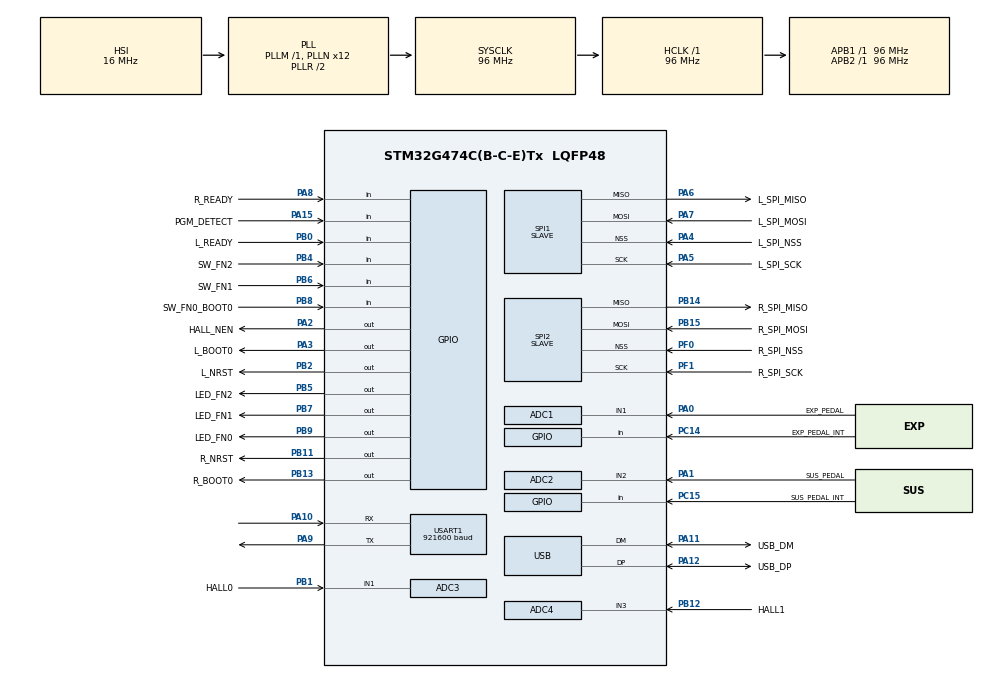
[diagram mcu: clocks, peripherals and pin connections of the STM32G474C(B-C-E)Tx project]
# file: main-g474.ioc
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ADC1.Channel-0\#ChannelRegularConversion=ADC_CHANNEL_1
ADC1.NbrOfConversionFlag=1
ADC1.OffsetNumber-0\#ChannelRegularConversion=ADC_OFFSET_NONE
ADC1.OversamplingMode=DISABLE
ADC1.Rank-0\#ChannelRegularConversion=1
ADC1.SamplingTime-0\#ChannelRegularConversion=ADC_SAMPLETIME_2CYCLES_5
ADC1.master=1
ADC2.Channel-0\#ChannelRegularConversion=ADC_CHANNEL_2
ADC2.NbrOfConversionFlag=1
ADC2.OffsetNumber-0\#ChannelRegularConversion=ADC_OFFSET_NONE
ADC2.Rank-0\#ChannelRegularConversion=1
ADC2.SamplingTime-0\#ChannelRegularConversion=ADC_SAMPLETIME_2CYCLES_5
ADC3.Channel-0\#ChannelRegularConversion=ADC_CHANNEL_1
ADC3.NbrOfConversionFlag=1
ADC3.OffsetNumber-0\#ChannelRegularConversion=ADC_OFFSET_NONE
ADC3.OversamplingMode=ENABLE
ADC3.Rank-0\#ChannelRegularConversion=1
ADC3.Ratio=ADC_OVERSAMPLING_RATIO_256
ADC3.RightBitShift=ADC_RIGHTBITSHIFT_5
ADC3.SamplingTime-0\#ChannelRegularConversion=ADC_SAMPLETIME_2CYCLES_5
ADC3.master=1
ADC4.Channel-0\#ChannelRegularConversion=ADC_CHANNEL_3
ADC4.NbrOfConversionFlag=1
ADC4.OffsetNumber-0\#ChannelRegularConversion=ADC_OFFSET_NONE
ADC4.OversamplingMode=ENABLE
ADC4.Rank-0\#ChannelRegularConversion=1
ADC4.Ratio=ADC_OVERSAMPLING_RATIO_256
ADC4.RightBitShift=ADC_RIGHTBITSHIFT_5
ADC4.SamplingTime-0\#ChannelRegularConversion=ADC_SAMPLETIME_2CYCLES_5
Dma.Request0=SPI1_RX
Dma.Request1=SPI2_RX
Dma.SPI1_RX.0.Direction=DMA_PERIPH_TO_MEMORY
Dma.SPI1_RX.0.EventEnable=DISABLE
Dma.SPI1_RX.0.Instance=DMA1_Channel1
Dma.SPI1_RX.0.MemDataAlignment=DMA_MDATAALIGN_HALFWORD
Dma.SPI1_RX.0.MemInc=DMA_MINC_ENABLE
Dma.SPI1_RX.0.Mode=DMA_NORMAL
Dma.SPI1_RX.0.PeriphDataAlignment=DMA_PDATAALIGN_HALFWORD
Dma.SPI1_RX.0.PeriphInc=DMA_PINC_DISABLE
Dma.SPI1_RX.0.Polarity=HAL_DMAMUX_REQ_GEN_RISING
Dma.SPI1_RX.0.Priority=DMA_PRIORITY_LOW
Dma.SPI1_RX.0.RequestNumber=1
Dma.SPI1_RX.0.SignalID=NONE
Dma.SPI1_RX.0.SyncEnable=DISABLE
Dma.SPI1_RX.0.SyncPolarity=HAL_DMAMUX_SYNC_NO_EVENT
Dma.SPI1_RX.0.SyncRequestNumber=1
Dma.SPI1_RX.0.SyncSignalID=NONE
Dma.SPI2_RX.1.Direction=DMA_PERIPH_TO_MEMORY
Dma.SPI2_RX.1.EventEnable=DISABLE
Dma.SPI2_RX.1.Instance=DMA1_Channel2
Dma.SPI2_RX.1.MemDataAlignment=DMA_MDATAALIGN_HALFWORD
Dma.SPI2_RX.1.MemInc=DMA_MINC_ENABLE
Dma.SPI2_RX.1.Mode=DMA_NORMAL
Dma.SPI2_RX.1.PeriphDataAlignment=DMA_PDATAALIGN_HALFWORD
Dma.SPI2_RX.1.PeriphInc=DMA_PINC_DISABLE
Dma.SPI2_RX.1.Polarity=HAL_DMAMUX_REQ_GEN_RISING
Dma.SPI2_RX.1.Priority=DMA_PRIORITY_LOW
Dma.SPI2_RX.1.RequestNumber=1
Dma.SPI2_RX.1.SignalID=NONE
Dma.SPI2_RX.1.SyncEnable=DISABLE
Dma.SPI2_RX.1.SyncPolarity=HAL_DMAMUX_SYNC_NO_EVENT
Dma.SPI2_RX.1.SyncRequestNumber=1
Dma.SPI2_RX.1.SyncSignalID=NONE
Mcu.Family=STM32G4
Mcu.Name=STM32G474C(B-C-E)Tx
Mcu.Package=LQFP48
NVIC.DMA1_Channel1_IRQn=true\:0\:0\:false\:false\:true\:false\:true\:true
NVIC.DMA1_Channel2_IRQn=true\:0\:0\:false\:false\:true\:false\:true\:true
NVIC.PriorityGroup=NVIC_PRIORITYGROUP_4
NVIC.SPI1_IRQn=true\:0\:0\:false\:false\:true\:true\:true\:true
NVIC.SPI2_IRQn=true\:0\:0\:false\:false\:true\:true\:true\:true
NVIC.USART1_IRQn=true\:0\:0\:false\:false\:true\:true\:true\:true
PA0.GPIO_Label=EXP_PEDAL
PA0.Mode=IN1-Single-Ended
PA0.Signal=ADC1_IN1
PA1.GPIO_Label=SUS_PEDAL
PA1.Mode=IN2-Single-Ended
PA1.Signal=ADC2_IN2
PA10.Mode=Asynchronous
PA10.Signal=USART1_RX
PA11.GPIO_Label=USB_DM
PA11.Mode=Device
PA11.Signal=USB_DM
PA12.GPIO_Label=USB_DP
PA12.Mode=Device
PA12.Signal=USB_DP
PA13.Mode=Trace_Asynchronous_SW
PA13.Signal=SYS_JTMS-SWDIO
PA14.Mode=Trace_Asynchronous_SW
PA14.Signal=SYS_JTCK-SWCLK
PA15.GPIO_Label=PGM_DETECT
PA15.GPIO_PuPd=GPIO_PULLUP
PA15.Signal=GPIO_Input
PA2.GPIO_Label=HALL_NEN
PA2.GPIO_ModeDefaultOutputPP=GPIO_MODE_OUTPUT_OD
PA2.GPIO_PuPd=GPIO_NOPULL
PA2.PinState=GPIO_PIN_SET
PA2.Signal=GPIO_Output
PA3.GPIO_Label=L_BOOT0
PA3.GPIO_ModeDefaultOutputPP=GPIO_MODE_OUTPUT_PP
PA3.GPIO_PuPd=GPIO_NOPULL
PA3.Signal=GPIO_Output
PA4.GPIO_Label=L_SPI_NSS
PA4.GPIO_PuPd=GPIO_PULLUP
PA4.Mode=NSS_Signal_Hard_Input
PA4.Signal=SPI1_NSS
PA5.GPIO_Label=L_SPI_SCK
PA5.Mode=Full_Duplex_Slave
PA5.Signal=SPI1_SCK
PA6.GPIO_Label=L_SPI_MISO
PA6.GPIO_PuPd=GPIO_PULLUP
PA6.Mode=Full_Duplex_Slave
PA6.Signal=SPI1_MISO
PA7.GPIO_Label=L_SPI_MOSI
PA7.Mode=Full_Duplex_Slave
PA7.Signal=SPI1_MOSI
PA8.GPIO_Label=R_READY
PA8.GPIO_PuPd=GPIO_PULLDOWN
PA8.Signal=GPIO_Input
PA9.Mode=Asynchronous
PA9.Signal=USART1_TX
PB0.GPIO_Label=L_READY
PB0.GPIO_PuPd=GPIO_PULLDOWN
PB0.Signal=GPIO_Input
PB1.GPIO_Label=HALL0
PB1.Mode=IN1-Single-Ended
PB1.Signal=ADC3_IN1
PB11.GPIO_Label=R_NRST
PB11.GPIO_ModeDefaultOutputPP=GPIO_MODE_OUTPUT_OD
PB11.GPIO_PuPd=GPIO_NOPULL
PB11.PinState=GPIO_PIN_SET
PB11.Signal=GPIO_Output
PB12.GPIO_Label=HALL1
PB12.Mode=IN3-Single-Ended
PB12.Signal=ADC4_IN3
PB13.GPIO_Label=R_BOOT0
PB13.Signal=GPIO_Output
PB14.GPIO_Label=R_SPI_MISO
PB14.GPIO_PuPd=GPIO_PULLUP
PB14.Mode=Full_Duplex_Slave
PB14.Signal=SPI2_MISO
PB15.GPIO_Label=R_SPI_MOSI
PB15.GPIO_PuPd=GPIO_NOPULL
PB15.Mode=Full_Duplex_Slave
PB15.Signal=SPI2_MOSI
PB2.GPIO_Label=L_NRST
PB2.GPIO_ModeDefaultOutputPP=GPIO_MODE_OUTPUT_OD
PB2.GPIO_PuPd=GPIO_NOPULL
PB2.PinState=GPIO_PIN_SET
PB2.Signal=GPIO_Output
PB3.Mode=Trace_Asynchronous_SW
PB3.Signal=SYS_JTDO-SWO
PB4.GPIO_Label=SW_FN2
PB4.GPIO_PuPd=GPIO_PULLUP
PB4.Signal=GPIO_Input
PB5.GPIO_Label=LED_FN2
PB5.Signal=GPIO_Output
PB6.GPIO_Label=SW_FN1
PB6.GPIO_PuPd=GPIO_PULLUP
PB6.Signal=GPIO_Input
PB7.GPIO_Label=LED_FN1
PB7.Signal=GPIO_Output
PB8-BOOT0.GPIO_Label=SW_FN0_BOOT0
PB8-BOOT0.Signal=GPIO_Input
PB9.GPIO_Label=LED_FN0
PB9.Signal=GPIO_Output
PC14-OSC32_IN.GPIO_Label=EXP_PEDAL_INT
PC14-OSC32_IN.GPIO_PuPd=GPIO_PULLDOWN
PC14-OSC32_IN.Signal=GPIO_Input
PC15-OSC32_OUT.GPIO_Label=SUS_PEDAL_INT
PC15-OSC32_OUT.GPIO_PuPd=GPIO_PULLDOWN
PC15-OSC32_OUT.Signal=GPIO_Input
PF0-OSC_IN.GPIO_Label=R_SPI_NSS
PF0-OSC_IN.GPIO_PuPd=GPIO_PULLUP
PF0-OSC_IN.Mode=NSS_Signal_Hard_Input
PF0-OSC_IN.Signal=SPI2_NSS
PF1-OSC_OUT.GPIO_Label=R_SPI_SCK
PF1-OSC_OUT.Mode=Full_Duplex_Slave
PF1-OSC_OUT.Signal=SPI2_SCK
ProjectManager.HeapSize=0x200
ProjectManager.StackSize=0x400
ProjectManager.TargetToolchain=CMake
RCC.ADC12Freq_Value=96000000
RCC.ADC345Freq_Value=96000000
RCC.AHBFreq_Value=96000000
RCC.APB1Freq_Value=96000000
RCC.APB1TimFreq_Value=96000000
RCC.APB2Freq_Value=96000000
RCC.APB2TimFreq_Value=96000000
RCC.CK48CLockSelection=RCC_USBCLKSOURCE_HSI48
RCC.CortexFreq_Value=96000000
RCC.EXTERNAL_CLOCK_VALUE=12288000
RCC.HCLKFreq_Value=96000000
RCC.HSE_VALUE=8000000
RCC.HSI48_VALUE=48000000
RCC.HSI_VALUE=16000000
RCC.LSE_VALUE=32768
RCC.PLLN=12
RCC.PLLQ=RCC_PLLQ_DIV4
RCC.SYSCLKFreq_VALUE=96000000
RCC.SYSCLKSource=RCC_SYSCLKSOURCE_PLLCLK
RCC.USBFreq_Value=48000000
RCC.VCOOutputFreq_Value=192000000
SPI1.CRCCalculation=SPI_CRCCALCULATION_ENABLE
SPI1.CRCLength=SPI_CRC_LENGTH_16BIT
SPI1.CRCPolynomial=X0+X1+X2
SPI1.DataSize=SPI_DATASIZE_16BIT
SPI1.Direction=SPI_DIRECTION_2LINES
SPI1.Mode=SPI_MODE_SLAVE
SPI1.VirtualNSS=VM_NSSHARD
SPI1.VirtualType=VM_SLAVE
SPI2.CRCCalculation=SPI_CRCCALCULATION_ENABLE
SPI2.CRCLength=SPI_CRC_LENGTH_16BIT
SPI2.DataSize=SPI_DATASIZE_16BIT
SPI2.Direction=SPI_DIRECTION_2LINES
SPI2.Mode=SPI_MODE_SLAVE
SPI2.VirtualNSS=VM_NSSHARD
SPI2.VirtualType=VM_SLAVE
USART1.BaudRate=921600
USART1.VirtualMode-Asynchronous=VM_ASYNC
VP_RCC_VS_USB.Mode=USB_FS
VP_SYS_VS_DBSignals.Mode=DisableDeadBatterySignals
board=custom

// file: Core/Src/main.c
/* USER CODE BEGIN Header */
/**
  ******************************************************************************
  * @file           : main.c
  * @brief          : Main program body
  ******************************************************************************
  * @attention
  *
  * Copyright (c) 2026 STMicroelectronics.
  * All rights reserved.
  *
  * This software is licensed under terms that can be found in the LICENSE file
  * in the root directory of this software component.
  * If no LICENSE file comes with this software, it is provided AS-IS.
  *
  ******************************************************************************
  */
/* USER CODE END Header */
#include "main.h"

/* USER CODE BEGIN Includes */
#include <stdio.h>
#include <stdlib.h>
#include <string.h>
#include "console.h"
#include "swo.h"
#include "usb_app.h"
#include "app/bellow.h"
#include "app/buttons.h"
#include "app/keyboard.h"
#include "app/pedals.h"
#include "app/report.h"
#include "properties.h"
#include "properties_console.h"
#include "app/app.h"
#include "app/cmd.h"
/* Flash split and the DFU hand-off flag, shared with the bootloader. */
#include "memmap.h"

/* USER CODE END Includes */

ADC_HandleTypeDef hadc1;
ADC_HandleTypeDef hadc2;
ADC_HandleTypeDef hadc3;
ADC_HandleTypeDef hadc4;

SPI_HandleTypeDef hspi1;
SPI_HandleTypeDef hspi2;
DMA_HandleTypeDef hdma_spi1_rx;
DMA_HandleTypeDef hdma_spi2_rx;

UART_HandleTypeDef huart1;

PCD_HandleTypeDef hpcd_USB_FS;

void SystemClock_Config(void);
static void MX_GPIO_Init(void);
static void MX_DMA_Init(void);
static void MX_ADC1_Init(void);
static void MX_ADC2_Init(void);
static void MX_ADC3_Init(void);
static void MX_ADC4_Init(void);
static void MX_SPI1_Init(void);
static void MX_SPI2_Init(void);
static void MX_USART1_UART_Init(void);
static void MX_USB_PCD_Init(void);

int main(void)
{

  /* MCU Configuration--------------------------------------------------------*/

  /* Reset of all peripherals, Initializes the Flash interface and the Systick. */
  HAL_Init();

  /* Configure the system clock */
  SystemClock_Config();

  /* Initialize all configured peripherals */
  MX_GPIO_Init();
  MX_DMA_Init();
  MX_ADC1_Init();
  MX_ADC2_Init();
  MX_ADC3_Init();
  MX_ADC4_Init();
  MX_SPI1_Init();
  MX_SPI2_Init();
  MX_USART1_UART_Init();
  MX_USB_PCD_Init();
  /* USER CODE BEGIN 2 */
  main_init();
  /* USER CODE END 2 */

  /* Infinite loop */
  while (1)
  {

    /* USER CODE BEGIN 3 */
    main_task();
  }
  /* USER CODE END 3 */
}

void SystemClock_Config(void)
{
  RCC_OscInitTypeDef RCC_OscInitStruct = {0};
  RCC_ClkInitTypeDef RCC_ClkInitStruct = {0};
  RCC_CRSInitTypeDef pInit = {0};

  /** Configure the main internal regulator output voltage
  */
  HAL_PWREx_ControlVoltageScaling(PWR_REGULATOR_VOLTAGE_SCALE1);

  /** Initializes the RCC Oscillators according to the specified parameters
  * in the RCC_OscInitTypeDef structure.
  */
  RCC_OscInitStruct.OscillatorType = RCC_OSCILLATORTYPE_HSI|RCC_OSCILLATORTYPE_HSI48;
  RCC_OscInitStruct.HSIState = RCC_HSI_ON;
  RCC_OscInitStruct.HSICalibrationValue = RCC_HSICALIBRATION_DEFAULT;
  RCC_OscInitStruct.HSI48State = RCC_HSI48_ON;
  RCC_OscInitStruct.PLL.PLLState = RCC_PLL_ON;
  RCC_OscInitStruct.PLL.PLLSource = RCC_PLLSOURCE_HSI;
  RCC_OscInitStruct.PLL.PLLM = RCC_PLLM_DIV1;
  RCC_OscInitStruct.PLL.PLLN = 12;
  RCC_OscInitStruct.PLL.PLLP = RCC_PLLP_DIV2;
  RCC_OscInitStruct.PLL.PLLQ = RCC_PLLQ_DIV4;
  RCC_OscInitStruct.PLL.PLLR = RCC_PLLR_DIV2;
  if (HAL_RCC_OscConfig(&RCC_OscInitStruct) != HAL_OK)
  {
    Error_Handler();
  }

  /** Initializes the CPU, AHB and APB buses clocks
  */
  RCC_ClkInitStruct.ClockType = RCC_CLOCKTYPE_HCLK|RCC_CLOCKTYPE_SYSCLK
                              |RCC_CLOCKTYPE_PCLK1|RCC_CLOCKTYPE_PCLK2;
  RCC_ClkInitStruct.SYSCLKSource = RCC_SYSCLKSOURCE_PLLCLK;
  RCC_ClkInitStruct.AHBCLKDivider = RCC_SYSCLK_DIV1;
  RCC_ClkInitStruct.APB1CLKDivider = RCC_HCLK_DIV1;
  RCC_ClkInitStruct.APB2CLKDivider = RCC_HCLK_DIV1;

  if (HAL_RCC_ClockConfig(&RCC_ClkInitStruct, FLASH_LATENCY_3) != HAL_OK)
  {
    Error_Handler();
  }

  /** Enable the SYSCFG APB clock
  */
  __HAL_RCC_CRS_CLK_ENABLE();

  /** Configures CRS
  */
  pInit.Prescaler = RCC_CRS_SYNC_DIV1;
  pInit.Source = RCC_CRS_SYNC_SOURCE_USB;
  pInit.Polarity = RCC_CRS_SYNC_POLARITY_RISING;
  pInit.ReloadValue = __HAL_RCC_CRS_RELOADVALUE_CALCULATE(48000000,1000);
  pInit.ErrorLimitValue = 34;
  pInit.HSI48CalibrationValue = 32;

  HAL_RCCEx_CRSConfig(&pInit);
}

static void MX_ADC1_Init(void)
{

  ADC_MultiModeTypeDef multimode = {0};
  ADC_ChannelConfTypeDef sConfig = {0};

  /** Common config
  */
  hadc1.Instance = ADC1;
  hadc1.Init.ClockPrescaler = ADC_CLOCK_SYNC_PCLK_DIV2;
  hadc1.Init.Resolution = ADC_RESOLUTION_12B;
  hadc1.Init.DataAlign = ADC_DATAALIGN_RIGHT;
  hadc1.Init.GainCompensation = 0;
  hadc1.Init.ScanConvMode = ADC_SCAN_DISABLE;
  hadc1.Init.EOCSelection = ADC_EOC_SINGLE_CONV;
  hadc1.Init.LowPowerAutoWait = DISABLE;
  hadc1.Init.ContinuousConvMode = DISABLE;
  hadc1.Init.NbrOfConversion = 1;
  hadc1.Init.DiscontinuousConvMode = DISABLE;
  hadc1.Init.ExternalTrigConv = ADC_SOFTWARE_START;
  hadc1.Init.ExternalTrigConvEdge = ADC_EXTERNALTRIGCONVEDGE_NONE;
  hadc1.Init.DMAContinuousRequests = DISABLE;
  hadc1.Init.Overrun = ADC_OVR_DATA_PRESERVED;
  hadc1.Init.OversamplingMode = DISABLE;
  if (HAL_ADC_Init(&hadc1) != HAL_OK)
  {
    Error_Handler();
  }

  /** Configure the ADC multi-mode
  */
  multimode.Mode = ADC_MODE_INDEPENDENT;
  if (HAL_ADCEx_MultiModeConfigChannel(&hadc1, &multimode) != HAL_OK)
  {
    Error_Handler();
  }

  /** Configure Regular Channel
  */
  sConfig.Channel = ADC_CHANNEL_1;
  sConfig.Rank = ADC_REGULAR_RANK_1;
  sConfig.SamplingTime = ADC_SAMPLETIME_2CYCLES_5;
  sConfig.SingleDiff = ADC_SINGLE_ENDED;
  sConfig.OffsetNumber = ADC_OFFSET_NONE;
  sConfig.Offset = 0;
  if (HAL_ADC_ConfigChannel(&hadc1, &sConfig) != HAL_OK)
  {
    Error_Handler();
  }

}

static void MX_ADC2_Init(void)
{

  ADC_ChannelConfTypeDef sConfig = {0};

  /** Common config
  */
  hadc2.Instance = ADC2;
  hadc2.Init.ClockPrescaler = ADC_CLOCK_SYNC_PCLK_DIV2;
  hadc2.Init.Resolution = ADC_RESOLUTION_12B;
  hadc2.Init.DataAlign = ADC_DATAALIGN_RIGHT;
  hadc2.Init.GainCompensation = 0;
  hadc2.Init.ScanConvMode = ADC_SCAN_DISABLE;
  hadc2.Init.EOCSelection = ADC_EOC_SINGLE_CONV;
  hadc2.Init.LowPowerAutoWait = DISABLE;
  hadc2.Init.ContinuousConvMode = DISABLE;
  hadc2.Init.NbrOfConversion = 1;
  hadc2.Init.DiscontinuousConvMode = DISABLE;
  hadc2.Init.ExternalTrigConv = ADC_SOFTWARE_START;
  hadc2.Init.ExternalTrigConvEdge = ADC_EXTERNALTRIGCONVEDGE_NONE;
  hadc2.Init.DMAContinuousRequests = DISABLE;
  hadc2.Init.Overrun = ADC_OVR_DATA_PRESERVED;
  hadc2.Init.OversamplingMode = DISABLE;
  if (HAL_ADC_Init(&hadc2) != HAL_OK)
  {
    Error_Handler();
  }

  /** Configure Regular Channel
  */
  sConfig.Channel = ADC_CHANNEL_2;
  sConfig.Rank = ADC_REGULAR_RANK_1;
  sConfig.SamplingTime = ADC_SAMPLETIME_2CYCLES_5;
  sConfig.SingleDiff = ADC_SINGLE_ENDED;
  sConfig.OffsetNumber = ADC_OFFSET_NONE;
  sConfig.Offset = 0;
  if (HAL_ADC_ConfigChannel(&hadc2, &sConfig) != HAL_OK)
  {
    Error_Handler();
  }

}

static void MX_ADC3_Init(void)
{

  ADC_MultiModeTypeDef multimode = {0};
  ADC_ChannelConfTypeDef sConfig = {0};

  /** Common config
  */
  hadc3.Instance = ADC3;
  hadc3.Init.ClockPrescaler = ADC_CLOCK_SYNC_PCLK_DIV2;
  hadc3.Init.Resolution = ADC_RESOLUTION_12B;
  hadc3.Init.DataAlign = ADC_DATAALIGN_RIGHT;
  hadc3.Init.GainCompensation = 0;
  hadc3.Init.ScanConvMode = ADC_SCAN_DISABLE;
  hadc3.Init.EOCSelection = ADC_EOC_SINGLE_CONV;
  hadc3.Init.LowPowerAutoWait = DISABLE;
  hadc3.Init.ContinuousConvMode = DISABLE;
  hadc3.Init.NbrOfConversion = 1;
  hadc3.Init.DiscontinuousConvMode = DISABLE;
  hadc3.Init.ExternalTrigConv = ADC_SOFTWARE_START;
  hadc3.Init.ExternalTrigConvEdge = ADC_EXTERNALTRIGCONVEDGE_NONE;
  hadc3.Init.DMAContinuousRequests = DISABLE;
  hadc3.Init.Overrun = ADC_OVR_DATA_PRESERVED;
  hadc3.Init.OversamplingMode = ENABLE;
  hadc3.Init.Oversampling.Ratio = ADC_OVERSAMPLING_RATIO_256;
  hadc3.Init.Oversampling.RightBitShift = ADC_RIGHTBITSHIFT_5;
  hadc3.Init.Oversampling.TriggeredMode = ADC_TRIGGEREDMODE_SINGLE_TRIGGER;
  hadc3.Init.Oversampling.OversamplingStopReset = ADC_REGOVERSAMPLING_CONTINUED_MODE;
  if (HAL_ADC_Init(&hadc3) != HAL_OK)
  {
    Error_Handler();
  }

  /** Configure the ADC multi-mode
  */
  multimode.Mode = ADC_MODE_INDEPENDENT;
  if (HAL_ADCEx_MultiModeConfigChannel(&hadc3, &multimode) != HAL_OK)
  {
    Error_Handler();
  }

  /** Configure Regular Channel
  */
  sConfig.Channel = ADC_CHANNEL_1;
  sConfig.Rank = ADC_REGULAR_RANK_1;
  sConfig.SamplingTime = ADC_SAMPLETIME_2CYCLES_5;
  sConfig.SingleDiff = ADC_SINGLE_ENDED;
  sConfig.OffsetNumber = ADC_OFFSET_NONE;
  sConfig.Offset = 0;
  if (HAL_ADC_ConfigChannel(&hadc3, &sConfig) != HAL_OK)
  {
    Error_Handler();
  }

}

static void MX_ADC4_Init(void)
{

  ADC_ChannelConfTypeDef sConfig = {0};

  /** Common config
  */
  hadc4.Instance = ADC4;
  hadc4.Init.ClockPrescaler = ADC_CLOCK_SYNC_PCLK_DIV2;
  hadc4.Init.Resolution = ADC_RESOLUTION_12B;
  hadc4.Init.DataAlign = ADC_DATAALIGN_RIGHT;
  hadc4.Init.GainCompensation = 0;
  hadc4.Init.ScanConvMode = ADC_SCAN_DISABLE;
  hadc4.Init.EOCSelection = ADC_EOC_SINGLE_CONV;
  hadc4.Init.LowPowerAutoWait = DISABLE;
  hadc4.Init.ContinuousConvMode = DISABLE;
  hadc4.Init.NbrOfConversion = 1;
  hadc4.Init.DiscontinuousConvMode = DISABLE;
  hadc4.Init.ExternalTrigConv = ADC_SOFTWARE_START;
  hadc4.Init.ExternalTrigConvEdge = ADC_EXTERNALTRIGCONVEDGE_NONE;
  hadc4.Init.DMAContinuousRequests = DISABLE;
  hadc4.Init.Overrun = ADC_OVR_DATA_PRESERVED;
  hadc4.Init.OversamplingMode = ENABLE;
  hadc4.Init.Oversampling.Ratio = ADC_OVERSAMPLING_RATIO_256;
  hadc4.Init.Oversampling.RightBitShift = ADC_RIGHTBITSHIFT_5;
  hadc4.Init.Oversampling.TriggeredMode = ADC_TRIGGEREDMODE_SINGLE_TRIGGER;
  hadc4.Init.Oversampling.OversamplingStopReset = ADC_REGOVERSAMPLING_CONTINUED_MODE;
  if (HAL_ADC_Init(&hadc4) != HAL_OK)
  {
    Error_Handler();
  }

  /** Configure Regular Channel
  */
  sConfig.Channel = ADC_CHANNEL_3;
  sConfig.Rank = ADC_REGULAR_RANK_1;
  sConfig.SamplingTime = ADC_SAMPLETIME_2CYCLES_5;
  sConfig.SingleDiff = ADC_SINGLE_ENDED;
  sConfig.OffsetNumber = ADC_OFFSET_NONE;
  sConfig.Offset = 0;
  if (HAL_ADC_ConfigChannel(&hadc4, &sConfig) != HAL_OK)
  {
    Error_Handler();
  }

}

static void MX_SPI1_Init(void)
{

  /* SPI1 parameter configuration*/
  hspi1.Instance = SPI1;
  hspi1.Init.Mode = SPI_MODE_SLAVE;
  hspi1.Init.Direction = SPI_DIRECTION_2LINES;
  hspi1.Init.DataSize = SPI_DATASIZE_16BIT;
  hspi1.Init.CLKPolarity = SPI_POLARITY_LOW;
  hspi1.Init.CLKPhase = SPI_PHASE_1EDGE;
  hspi1.Init.NSS = SPI_NSS_HARD_INPUT;
  hspi1.Init.FirstBit = SPI_FIRSTBIT_MSB;
  hspi1.Init.TIMode = SPI_TIMODE_DISABLE;
  hspi1.Init.CRCCalculation = SPI_CRCCALCULATION_ENABLE;
  hspi1.Init.CRCPolynomial = 7;
  hspi1.Init.CRCLength = SPI_CRC_LENGTH_16BIT;
  hspi1.Init.NSSPMode = SPI_NSS_PULSE_DISABLE;
  if (HAL_SPI_Init(&hspi1) != HAL_OK)
  {
    Error_Handler();
  }

}

static void MX_SPI2_Init(void)
{

  /* SPI2 parameter configuration*/
  hspi2.Instance = SPI2;
  hspi2.Init.Mode = SPI_MODE_SLAVE;
  hspi2.Init.Direction = SPI_DIRECTION_2LINES;
  hspi2.Init.DataSize = SPI_DATASIZE_16BIT;
  hspi2.Init.CLKPolarity = SPI_POLARITY_LOW;
  hspi2.Init.CLKPhase = SPI_PHASE_1EDGE;
  hspi2.Init.NSS = SPI_NSS_HARD_INPUT;
  hspi2.Init.FirstBit = SPI_FIRSTBIT_MSB;
  hspi2.Init.TIMode = SPI_TIMODE_DISABLE;
  hspi2.Init.CRCCalculation = SPI_CRCCALCULATION_ENABLE;
  hspi2.Init.CRCPolynomial = 7;
  hspi2.Init.CRCLength = SPI_CRC_LENGTH_16BIT;
  hspi2.Init.NSSPMode = SPI_NSS_PULSE_DISABLE;
  if (HAL_SPI_Init(&hspi2) != HAL_OK)
  {
    Error_Handler();
  }

}

static void MX_USART1_UART_Init(void)
{

  huart1.Instance = USART1;
  huart1.Init.BaudRate = 921600;
  huart1.Init.WordLength = UART_WORDLENGTH_8B;
  huart1.Init.StopBits = UART_STOPBITS_1;
  huart1.Init.Parity = UART_PARITY_NONE;
  huart1.Init.Mode = UART_MODE_TX_RX;
  huart1.Init.HwFlowCtl = UART_HWCONTROL_NONE;
  huart1.Init.OverSampling = UART_OVERSAMPLING_16;
  huart1.Init.OneBitSampling = UART_ONE_BIT_SAMPLE_DISABLE;
  huart1.Init.ClockPrescaler = UART_PRESCALER_DIV1;
  huart1.AdvancedInit.AdvFeatureInit = UART_ADVFEATURE_NO_INIT;
  if (HAL_UART_Init(&huart1) != HAL_OK)
  {
    Error_Handler();
  }
  if (HAL_UARTEx_SetTxFifoThreshold(&huart1, UART_TXFIFO_THRESHOLD_1_8) != HAL_OK)
  {
    Error_Handler();
  }
  if (HAL_UARTEx_SetRxFifoThreshold(&huart1, UART_RXFIFO_THRESHOLD_1_8) != HAL_OK)
  {
    Error_Handler();
  }
  if (HAL_UARTEx_DisableFifoMode(&huart1) != HAL_OK)
  {
    Error_Handler();
  }

}

static void MX_USB_PCD_Init(void)
{

  hpcd_USB_FS.Instance = USB;
  hpcd_USB_FS.Init.dev_endpoints = 8;
  hpcd_USB_FS.Init.speed = PCD_SPEED_FULL;
  hpcd_USB_FS.Init.phy_itface = PCD_PHY_EMBEDDED;
  hpcd_USB_FS.Init.Sof_enable = DISABLE;
  hpcd_USB_FS.Init.low_power_enable = DISABLE;
  hpcd_USB_FS.Init.lpm_enable = DISABLE;
  hpcd_USB_FS.Init.battery_charging_enable = DISABLE;
  if (HAL_PCD_Init(&hpcd_USB_FS) != HAL_OK)
  {
    Error_Handler();
  }

}

static void MX_DMA_Init(void)
{

  /* DMA controller clock enable */
  __HAL_RCC_DMAMUX1_CLK_ENABLE();
  __HAL_RCC_DMA1_CLK_ENABLE();

  /* DMA interrupt init */
  /* DMA1_Channel1_IRQn interrupt configuration */
  HAL_NVIC_SetPriority(DMA1_Channel1_IRQn, 0, 0);
  HAL_NVIC_EnableIRQ(DMA1_Channel1_IRQn);
  /* DMA1_Channel2_IRQn interrupt configuration */
  HAL_NVIC_SetPriority(DMA1_Channel2_IRQn, 0, 0);
  HAL_NVIC_EnableIRQ(DMA1_Channel2_IRQn);

}

static void MX_GPIO_Init(void)
{
  GPIO_InitTypeDef GPIO_InitStruct = {0};

  /* GPIO Ports Clock Enable */
  __HAL_RCC_GPIOC_CLK_ENABLE();
  __HAL_RCC_GPIOF_CLK_ENABLE();
  __HAL_RCC_GPIOA_CLK_ENABLE();
  __HAL_RCC_GPIOB_CLK_ENABLE();

  /*Configure GPIO pin Output Level */
  HAL_GPIO_WritePin(HALL_NEN_GPIO_Port, HALL_NEN_Pin, GPIO_PIN_SET);

  /*Configure GPIO pin Output Level */
  HAL_GPIO_WritePin(L_BOOT0_GPIO_Port, L_BOOT0_Pin, GPIO_PIN_RESET);

  /*Configure GPIO pin Output Level */
  HAL_GPIO_WritePin(GPIOB, L_NRST_Pin|R_NRST_Pin, GPIO_PIN_SET);

  /*Configure GPIO pin Output Level */
  HAL_GPIO_WritePin(GPIOB, R_BOOT0_Pin|LED_FN2_Pin|LED_FN1_Pin|LED_FN0_Pin, GPIO_PIN_RESET);

  /*Configure GPIO pins : EXP_PEDAL_INT_Pin SUS_PEDAL_INT_Pin */
  GPIO_InitStruct.Pin = EXP_PEDAL_INT_Pin|SUS_PEDAL_INT_Pin;
  GPIO_InitStruct.Mode = GPIO_MODE_INPUT;
  GPIO_InitStruct.Pull = GPIO_PULLDOWN;
  HAL_GPIO_Init(GPIOC, &GPIO_InitStruct);

  /*Configure GPIO pin : HALL_NEN_Pin */
  GPIO_InitStruct.Pin = HALL_NEN_Pin;
  GPIO_InitStruct.Mode = GPIO_MODE_OUTPUT_OD;
  GPIO_InitStruct.Pull = GPIO_NOPULL;
  GPIO_InitStruct.Speed = GPIO_SPEED_FREQ_LOW;
  HAL_GPIO_Init(HALL_NEN_GPIO_Port, &GPIO_InitStruct);

  /*Configure GPIO pin : L_BOOT0_Pin */
  GPIO_InitStruct.Pin = L_BOOT0_Pin;
  GPIO_InitStruct.Mode = GPIO_MODE_OUTPUT_PP;
  GPIO_InitStruct.Pull = GPIO_NOPULL;
  GPIO_InitStruct.Speed = GPIO_SPEED_FREQ_LOW;
  HAL_GPIO_Init(L_BOOT0_GPIO_Port, &GPIO_InitStruct);

  /*Configure GPIO pin : L_READY_Pin */
  GPIO_InitStruct.Pin = L_READY_Pin;
  GPIO_InitStruct.Mode = GPIO_MODE_INPUT;
  GPIO_InitStruct.Pull = GPIO_PULLDOWN;
  HAL_GPIO_Init(L_READY_GPIO_Port, &GPIO_InitStruct);

  /*Configure GPIO pins : L_NRST_Pin R_NRST_Pin */
  GPIO_InitStruct.Pin = L_NRST_Pin|R_NRST_Pin;
  GPIO_InitStruct.Mode = GPIO_MODE_OUTPUT_OD;
  GPIO_InitStruct.Pull = GPIO_NOPULL;
  GPIO_InitStruct.Speed = GPIO_SPEED_FREQ_LOW;
  HAL_GPIO_Init(GPIOB, &GPIO_InitStruct);

  /*Configure GPIO pins : R_BOOT0_Pin LED_FN2_Pin LED_FN1_Pin LED_FN0_Pin */
  GPIO_InitStruct.Pin = R_BOOT0_Pin|LED_FN2_Pin|LED_FN1_Pin|LED_FN0_Pin;
  GPIO_InitStruct.Mode = GPIO_MODE_OUTPUT_PP;
  GPIO_InitStruct.Pull = GPIO_NOPULL;
  GPIO_InitStruct.Speed = GPIO_SPEED_FREQ_LOW;
  HAL_GPIO_Init(GPIOB, &GPIO_InitStruct);

  /*Configure GPIO pin : R_READY_Pin */
  GPIO_InitStruct.Pin = R_READY_Pin;
  GPIO_InitStruct.Mode = GPIO_MODE_INPUT;
  GPIO_InitStruct.Pull = GPIO_PULLDOWN;
  HAL_GPIO_Init(R_READY_GPIO_Port, &GPIO_InitStruct);

  /*Configure GPIO pin : PGM_DETECT_Pin */
  GPIO_InitStruct.Pin = PGM_DETECT_Pin;
  GPIO_InitStruct.Mode = GPIO_MODE_INPUT;
  GPIO_InitStruct.Pull = GPIO_PULLUP;
  HAL_GPIO_Init(PGM_DETECT_GPIO_Port, &GPIO_InitStruct);

  /*Configure GPIO pins : SW_FN2_Pin SW_FN1_Pin */
  GPIO_InitStruct.Pin = SW_FN2_Pin|SW_FN1_Pin;
  GPIO_InitStruct.Mode = GPIO_MODE_INPUT;
  GPIO_InitStruct.Pull = GPIO_PULLUP;
  HAL_GPIO_Init(GPIOB, &GPIO_InitStruct);

  /*Configure GPIO pin : SW_FN0_BOOT0_Pin */
  GPIO_InitStruct.Pin = SW_FN0_BOOT0_Pin;
  GPIO_InitStruct.Mode = GPIO_MODE_INPUT;
  GPIO_InitStruct.Pull = GPIO_NOPULL;
  HAL_GPIO_Init(SW_FN0_BOOT0_GPIO_Port, &GPIO_InitStruct);

}

void Error_Handler(void)
{
  __disable_irq();
  while (1)
  {
  }
}
